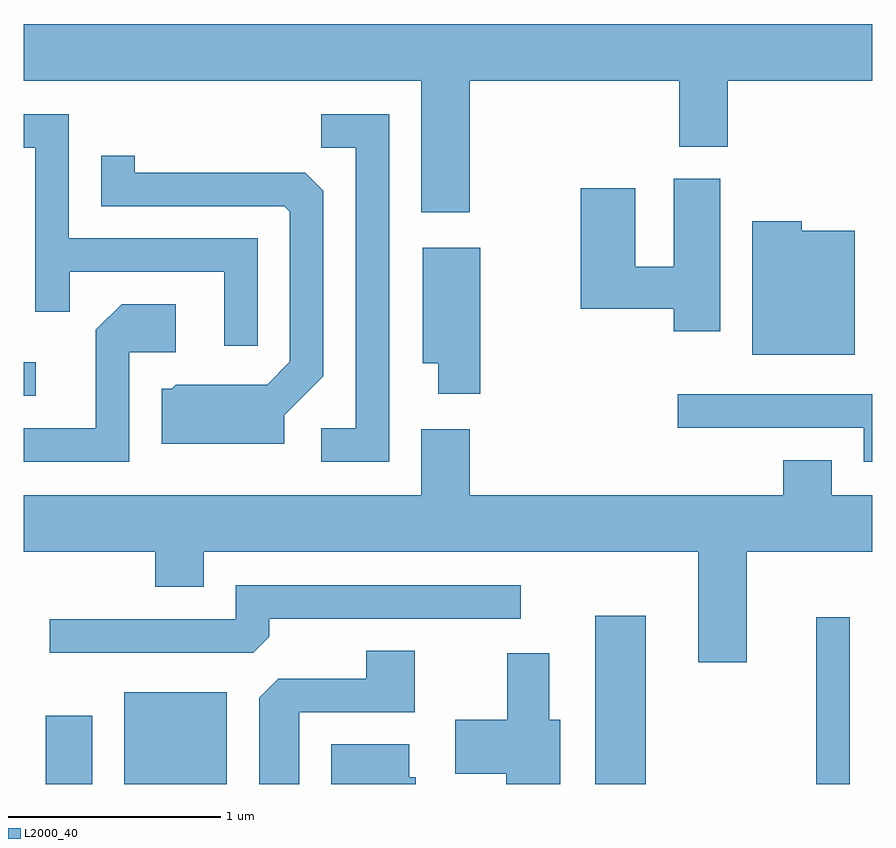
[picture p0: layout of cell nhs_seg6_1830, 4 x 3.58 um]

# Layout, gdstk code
import gdstk
lib = gdstk.Library(unit=1e-6, precision=1e-09)
def R(c, l, rs):  # rectangles x0, y0, x1, y1
    for r in rs: c.add(gdstk.rectangle(r[:2], r[2:], *l))
def P(c, l, *ps):  # polygons
    for p in ps: c.add(gdstk.Polygon(p, *l))
L2000_40 = (2000, 40)

nhs_seg6_1830 = lib.new_cell('nhs_seg6_1830')
R(nhs_seg6_1830, L2000_40, [(239.716,1662.162,239.934,1662.484), (240.086,1662.162,240.569,1662.594), (242.306,1662.162,242.544,1662.954), (243.346,1662.162,243.504,1662.948), (239.611,1663.991,239.668,1664.149)])
P(nhs_seg6_1830, L2000_40, [(241.714,1665.476),(242.701,1665.476),(242.701,1665.166),(242.929,1665.166),(242.929,1665.476),(243.611,1665.476),(243.611,1665.744),(239.611,1665.744),(239.611,1665.476),(241.486,1665.476),(241.486,1664.856),(241.714,1664.856)],
  [(240.714,1664.734),(239.824,1664.734),(239.824,1665.319),(239.611,1665.319),(239.611,1665.161),(239.666,1665.161),(239.666,1664.388),(239.829,1664.388),(239.829,1664.576),(240.556,1664.576),(240.556,1664.228),(240.714,1664.228)],
  [(241.334,1665.319),(241.013,1665.319),(241.013,1665.161),(241.176,1665.161),(241.176,1663.839),(241.013,1663.839),(241.013,1663.681),(241.334,1663.681)],
  [(240.839,1663.899),(241.024,1664.084),(241.024,1664.959),(240.939,1665.044),(240.134,1665.044),(240.134,1665.123),(239.976,1665.123),(239.976,1664.886),(240.839,1664.886),(240.866,1664.859),(240.866,1664.152),(240.759,1664.044),(240.329,1664.044),(240.309,1664.024),(240.261,1664.024),(240.261,1663.766),(240.839,1663.766)],
  [(242.894,1665.014),(242.676,1665.014),(242.676,1664.599),(242.494,1664.599),(242.494,1664.969),(242.236,1664.969),(242.236,1664.401),(242.676,1664.401),(242.676,1664.296),(242.894,1664.296)],
  [(243.529,1664.769),(243.279,1664.769),(243.279,1664.814),(243.046,1664.814),(243.046,1664.186),(243.529,1664.186)],
  [(241.764,1664.689),(241.491,1664.689),(241.491,1664.146),(241.566,1664.146),(241.566,1664.001),(241.764,1664.001)],
  [(240.109,1664.196),(240.329,1664.196),(240.329,1664.424),(240.074,1664.424),(239.951,1664.302),(239.951,1663.839),(239.611,1663.839),(239.611,1663.681),(240.109,1663.681)],
  [(243.611,1663.999),(242.693,1663.999),(242.693,1663.841),(243.571,1663.841),(243.571,1663.681),(243.611,1663.681)],
  [(243.019,1663.256),(243.611,1663.256),(243.611,1663.524),(243.419,1663.524),(243.419,1663.689),(243.191,1663.689),(243.191,1663.524),(241.714,1663.524),(241.714,1663.834),(241.486,1663.834),(241.486,1663.524),(239.611,1663.524),(239.611,1663.256),(240.231,1663.256),(240.231,1663.091),(240.459,1663.091),(240.459,1663.256),(242.791,1663.256),(242.791,1662.736),(243.019,1662.736)],
  [(240.769,1662.857),(240.769,1662.941),(241.953,1662.941),(241.953,1663.099),(240.611,1663.099),(240.611,1662.939),(239.733,1662.939),(239.733,1662.781),(240.694,1662.781)],
  [(240.909,1662.501),(241.454,1662.501),(241.454,1662.789),(241.226,1662.789),(241.226,1662.659),(240.812,1662.659),(240.721,1662.569),(240.721,1662.162),(240.909,1662.162)],
  [(242.139,1662.464),(242.089,1662.464),(242.089,1662.779),(241.891,1662.779),(241.891,1662.464),(241.646,1662.464),(241.646,1662.211),(241.886,1662.211),(241.886,1662.162),(242.139,1662.162)],
  [(241.459,1662.194),(241.429,1662.194),(241.429,1662.349),(241.061,1662.349),(241.061,1662.162),(241.459,1662.162)])

lib.write_gds('nhs_seg6_1830.gds')
